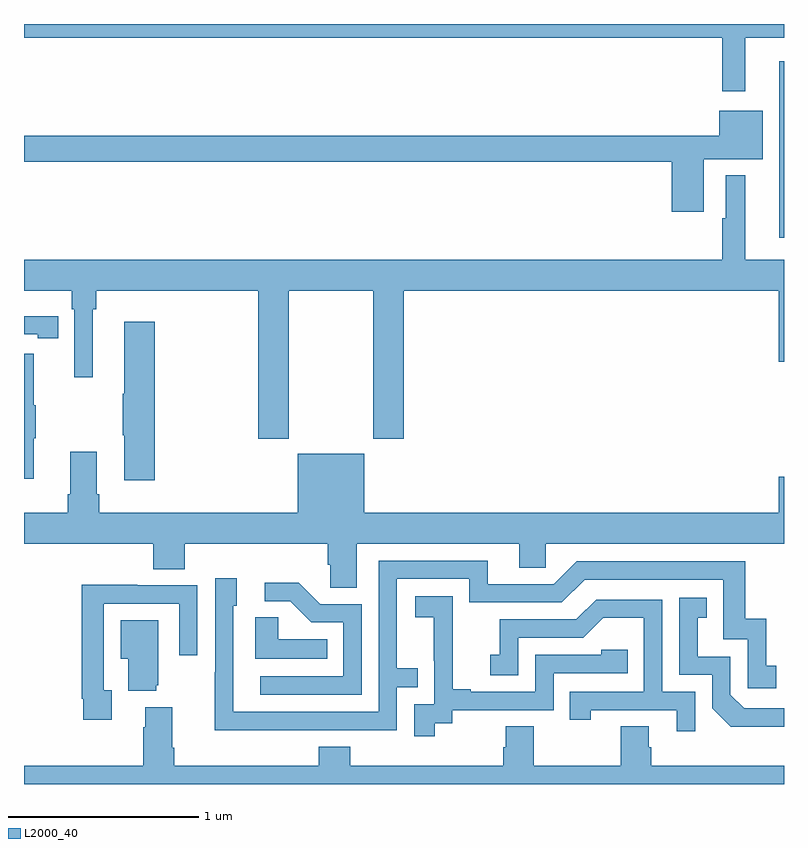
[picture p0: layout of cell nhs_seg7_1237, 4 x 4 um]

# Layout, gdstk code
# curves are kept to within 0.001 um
import gdstk
lib = gdstk.Library(unit=1e-6, precision=1e-09)
def R(c, l, rs):  # rectangles x0, y0, x1, y1
    for r in rs: c.add(gdstk.rectangle(r[:2], r[2:], *l))
def P(c, l, *ps):  # polygons
    for p in ps: c.add(gdstk.Polygon(p, *l))
L2000_40 = (2000, 40)

nhs_seg7_1237 = lib.new_cell('nhs_seg7_1237')
R(nhs_seg7_1237, L2000_40, [(200.975,1020.875,201,1021.804)])
P(nhs_seg7_1237, L2000_40, [(200.797,1021.928),(201,1021.928),(201,1022),(197,1022),(197,1021.928),(200.676,1021.928),(200.676,1021.647),(200.797,1021.647)],
  [(200.578,1021.289),(200.887,1021.289),(200.887,1021.543),(200.66,1021.543),(200.66,1021.412),(197,1021.412),(197,1021.276),(200.408,1021.276),(200.408,1021.011),(200.578,1021.011)],
  [(198.393,1020.596),(198.838,1020.596),(198.838,1019.817),(198.998,1019.817),(198.998,1020.596),(200.972,1020.596),(200.972,1020.222),(201,1020.222),(201,1020.76),(200.797,1020.76),(200.797,1021.204),(200.693,1021.204),(200.693,1020.977),(200.676,1020.977),(200.676,1020.76),(197,1020.76),(197,1020.596),(197.252,1020.596),(197.252,1020.5),(197.265,1020.5),(197.265,1020.141),(197.362,1020.141),(197.362,1020.5),(197.381,1020.5),(197.381,1020.596),(198.233,1020.596),(198.233,1019.817),(198.393,1019.817)],
  [(197.18,1020.462),(197.072,1020.462),(197.072,1020.463),(197,1020.463),(197,1020.366),(197.072,1020.366),(197.072,1020.346),(197.18,1020.346)],
  [(197.687,1020.433),(197.528,1020.433),(197.528,1020.053),(197.521,1020.053),(197.521,1019.836),(197.528,1019.836),(197.528,1019.598),(197.687,1019.598)],
  [(197.051,1019.819),(197.062,1019.819),(197.062,1019.993),(197.051,1019.993),(197.051,1020.265),(197,1020.265),(197,1019.607),(197.051,1019.607)],
  [(198.751,1019.264),(199.607,1019.264),(199.607,1019.137),(199.746,1019.137),(199.746,1019.264),(201,1019.264),(201,1019.617),(200.972,1019.617),(200.972,1019.428),(198.79,1019.428),(198.79,1019.737),(198.44,1019.737),(198.44,1019.428),(197.396,1019.428),(197.396,1019.524),(197.383,1019.524),(197.383,1019.749),(197.243,1019.749),(197.243,1019.524),(197.231,1019.524),(197.231,1019.428),(197,1019.428),(197,1019.264),(197.681,1019.264),(197.681,1019.131),(197.846,1019.131),(197.846,1019.264),(198.599,1019.264),(198.599,1019.155),(198.612,1019.155),(198.612,1019.032),(198.751,1019.032)],
  [(198.467,1018.284),(198.963,1018.284),(198.963,1018.509),(199.073,1018.509),(199.073,1018.61),(198.963,1018.61),(198.963,1019.079),(199.344,1019.079),(199.344,1018.956),(199.83,1018.956),(199.95,1019.076),(200.679,1019.076),(200.679,1018.761),(200.808,1018.761),(200.808,1018.503),(200.959,1018.503),(200.959,1018.623),(200.906,1018.623),(200.906,1018.87),(200.795,1018.87),(200.795,1019.172),(199.908,1019.172),(199.788,1019.052),(199.441,1019.052),(199.441,1019.175),(198.867,1019.175),(198.867,1018.38),(198.102,1018.38),(198.102,1018.938),(198.121,1018.938),(198.121,1019.083),(198.006,1019.083),(198.006,1018.589),(198.004,1018.589),(198.004,1018.283)],
  [(198.777,1018.947),(198.558,1018.947),(198.445,1019.06),(198.267,1019.06),(198.267,1018.962),(198.401,1018.962),(198.512,1018.851),(198.681,1018.851),(198.681,1018.566),(198.243,1018.566),(198.243,1018.47),(198.777,1018.47)],
  [(197.461,1018.494),(197.421,1018.494),(197.421,1018.95),(197.817,1018.95),(197.817,1018.677),(197.913,1018.677),(197.913,1019.046),(197.597,1019.046),(197.597,1019.048),(197.305,1019.048),(197.305,1018.45),(197.313,1018.45),(197.313,1018.338),(197.461,1018.338)],
  [(199.162,1018.321),(199.254,1018.321),(199.254,1018.389),(199.788,1018.389),(199.788,1018.584),(200.177,1018.584),(200.177,1018.707),(200.037,1018.707),(200.037,1018.68),(199.692,1018.68),(199.692,1018.485),(199.351,1018.485),(199.351,1018.498),(199.256,1018.498),(199.256,1018.781),(199.257,1018.781),(199.257,1018.987),(199.059,1018.987),(199.059,1018.877),(199.157,1018.877),(199.157,1018.649),(199.158,1018.649),(199.158,1018.419),(199.053,1018.419),(199.053,1018.251),(199.162,1018.251)],
  [(201,1018.398),(200.79,1018.398),(200.718,1018.47),(200.718,1018.671),(200.545,1018.671),(200.545,1018.875),(200.594,1018.875),(200.594,1018.981),(200.448,1018.981),(200.448,1018.575),(200.622,1018.575),(200.622,1018.398),(200.72,1018.301),(201,1018.301)],
  [(200.532,1018.485),(200.358,1018.485),(200.358,1018.971),(200.012,1018.971),(199.907,1018.866),(199.504,1018.866),(199.504,1018.681),(199.455,1018.681),(199.455,1018.572),(199.602,1018.572),(199.602,1018.77),(199.944,1018.77),(200.048,1018.874),(200.262,1018.874),(200.262,1018.485),(199.873,1018.485),(199.873,1018.338),(199.984,1018.338),(199.984,1018.389),(200.435,1018.389),(200.435,1018.278),(200.532,1018.278)],
  [(198.596,1018.762),(198.339,1018.762),(198.339,1018.877),(198.218,1018.877),(198.218,1018.658),(198.596,1018.658)],
  [(197.696,1018.521),(197.707,1018.521),(197.707,1018.861),(197.51,1018.861),(197.51,1018.658),(197.549,1018.658),(197.549,1018.49),(197.696,1018.49)],
  [(201,1018.096),(200.3,1018.096),(200.3,1018.194),(200.287,1018.194),(200.287,1018.304),(200.14,1018.304),(200.14,1018.096),(199.683,1018.096),(199.683,1018.304),(199.535,1018.304),(199.535,1018.194),(199.523,1018.194),(199.523,1018.096),(198.716,1018.096),(198.716,1018.195),(198.551,1018.195),(198.551,1018.096),(197.792,1018.096),(197.792,1018.192),(197.779,1018.192),(197.779,1018.405),(197.639,1018.405),(197.639,1018.298),(197.627,1018.298),(197.627,1018.096),(197,1018.096),(197,1018),(201,1018)])

lib.write_gds('nhs_seg7_1237.gds')
